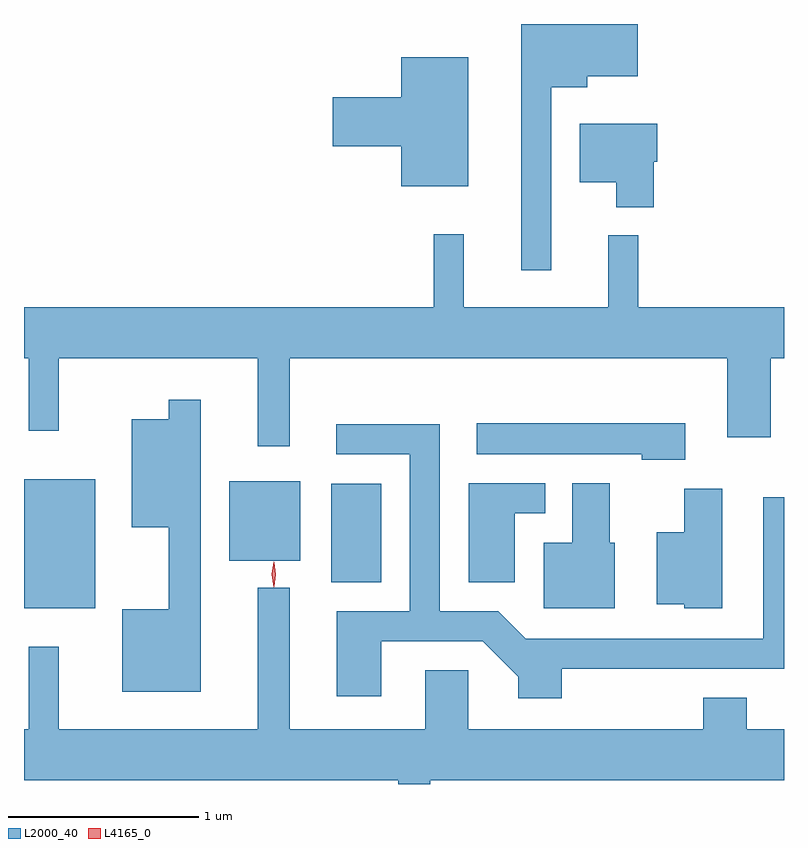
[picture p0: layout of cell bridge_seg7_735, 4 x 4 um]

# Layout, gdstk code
import gdstk
lib = gdstk.Library(unit=1e-6, precision=1e-09)
def R(c, l, rs):  # rectangles x0, y0, x1, y1
    for r in rs: c.add(gdstk.rectangle(r[:2], r[2:], *l))
def P(c, l, *ps):  # polygons
    for p in ps: c.add(gdstk.Polygon(p, *l))
L2000_40 = (2000, 40)
L4165_0 = (4165, 0)

bridge_seg7_735 = lib.new_cell('bridge_seg7_735')
R(bridge_seg7_735, L2000_40, [(470.081,1750.741,470.454,1751.419), (471.696,1750.876,471.959,1751.394), (471.161,1750.991,471.534,1751.409)])
P(bridge_seg7_735, L2000_40, [(472.854,1753.481),(473.044,1753.481),(473.044,1753.541),(473.309,1753.541),(473.309,1753.815),(472.696,1753.815),(472.696,1752.518),(472.854,1752.518)],
  [(472.419,1753.639),(472.066,1753.639),(472.066,1753.429),(471.706,1753.429),(471.706,1753.171),(472.066,1753.171),(472.066,1752.961),(472.419,1752.961)],
  [(473.394,1753.091),(473.414,1753.091),(473.414,1753.289),(473.006,1753.289),(473.006,1752.981),(473.196,1752.981),(473.196,1752.851),(473.394,1752.851)],
  [(473.781,1751.641),(474.009,1751.641),(474.009,1752.056),(474.08,1752.056),(474.08,1752.324),(473.314,1752.324),(473.314,1752.703),(473.156,1752.703),(473.156,1752.324),(472.394,1752.324),(472.394,1752.708),(472.236,1752.708),(472.236,1752.324),(470.08,1752.324),(470.08,1752.056),(470.106,1752.056),(470.106,1751.673),(470.264,1751.673),(470.264,1752.056),(471.311,1752.056),(471.311,1751.593),(471.479,1751.593),(471.479,1752.056),(473.781,1752.056)],
  [(471.009,1751.838),(470.841,1751.838),(470.841,1751.734),(470.646,1751.734),(470.646,1751.166),(470.841,1751.166),(470.841,1750.734),(470.596,1750.734),(470.596,1750.301),(471.009,1750.301)],
  [(473.559,1751.714),(472.463,1751.714),(472.463,1751.551),(473.331,1751.551),(473.331,1751.521),(473.559,1751.521)],
  [(472.909,1750.421),(474.08,1750.421),(474.08,1751.323),(473.971,1751.323),(473.971,1750.579),(472.722,1750.579),(472.577,1750.724),(472.269,1750.724),(472.269,1751.709),(471.723,1751.709),(471.723,1751.551),(472.111,1751.551),(472.111,1750.724),(471.726,1750.724),(471.726,1750.276),(471.959,1750.276),(471.959,1750.566),(472.494,1750.566),(472.681,1750.379),(472.681,1750.266),(472.909,1750.266)],
  [(473.189,1751.084),(473.164,1751.084),(473.164,1751.399),(472.966,1751.399),(472.966,1751.084),(472.816,1751.084),(472.816,1750.741),(473.189,1750.741)],
  [(472.664,1751.241),(472.823,1751.241),(472.823,1751.399),(472.421,1751.399),(472.421,1750.876),(472.664,1750.876)],
  [(473.754,1751.369),(473.556,1751.369),(473.556,1751.139),(473.411,1751.139),(473.411,1750.761),(473.556,1750.761),(473.556,1750.741),(473.754,1750.741)],
  [(472.219,1749.836),(474.08,1749.836),(474.08,1750.104),(473.884,1750.104),(473.884,1750.269),(473.656,1750.269),(473.656,1750.104),(472.419,1750.104),(472.419,1750.414),(472.191,1750.414),(472.191,1750.104),(471.479,1750.104),(471.479,1750.848),(471.311,1750.848),(471.311,1750.104),(470.264,1750.104),(470.264,1750.538),(470.106,1750.538),(470.106,1750.104),(470.08,1750.104),(470.08,1749.836),(472.051,1749.836),(472.051,1749.815),(472.219,1749.815)])
P(bridge_seg7_735, L4165_0, [(471.394,1750.85),(471.385,1750.918),(471.394,1750.986),(471.395,1750.986),(471.395,1750.986),(471.405,1750.918),(471.395,1750.85),(471.395,1750.85)],
  [(471.396,1750.853),(471.386,1750.917),(471.396,1750.982),(471.396,1750.982),(471.396,1750.982),(471.406,1750.917),(471.397,1750.853),(471.397,1750.853)])

lib.write_gds('bridge_seg7_735.gds')
